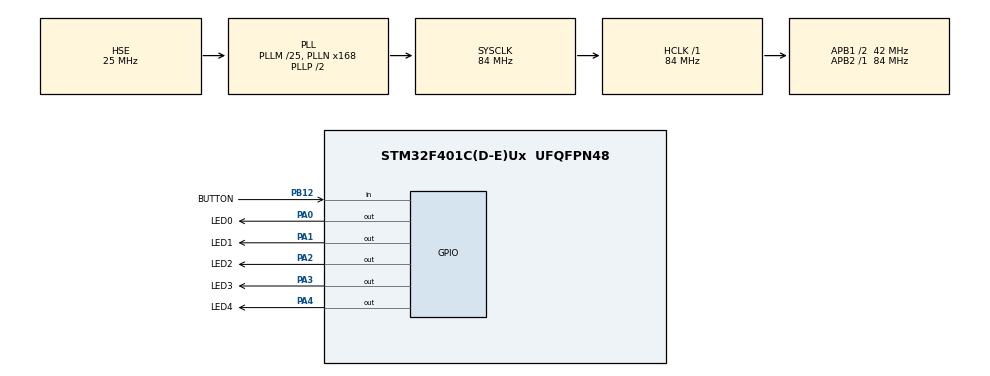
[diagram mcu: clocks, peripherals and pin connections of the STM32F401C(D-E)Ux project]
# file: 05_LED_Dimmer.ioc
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Mcu.Family=STM32F4
Mcu.Name=STM32F401C(D-E)Ux
Mcu.Package=UFQFPN48
NVIC.PriorityGroup=NVIC_PRIORITYGROUP_4
PA0-WKUP.GPIO_Label=LED0
PA0-WKUP.Signal=GPIO_Output
PA1.GPIO_Label=LED1
PA1.Signal=GPIO_Output
PA13.Mode=Serial_Wire
PA13.Signal=SYS_JTMS-SWDIO
PA14.Mode=Serial_Wire
PA14.Signal=SYS_JTCK-SWCLK
PA2.GPIO_Label=LED2
PA2.Signal=GPIO_Output
PA3.GPIO_Label=LED3
PA3.Signal=GPIO_Output
PA4.GPIO_Label=LED4
PA4.Signal=GPIO_Output
PB12.GPIO_Label=BUTTON
PB12.GPIO_PuPd=GPIO_PULLUP
PB12.Signal=GPIO_Input
PH0\ -\ OSC_IN.Mode=HSE-External-Oscillator
PH0\ -\ OSC_IN.Signal=RCC_OSC_IN
PH1\ -\ OSC_OUT.Mode=HSE-External-Oscillator
PH1\ -\ OSC_OUT.Signal=RCC_OSC_OUT
ProjectManager.HeapSize=0x200
ProjectManager.StackSize=0x400
ProjectManager.TargetToolchain=Makefile
RCC.48MHZClocksFreq_Value=42000000
RCC.AHBFreq_Value=84000000
RCC.APB1CLKDivider=RCC_HCLK_DIV2
RCC.APB1Freq_Value=42000000
RCC.APB1TimFreq_Value=84000000
RCC.APB2Freq_Value=84000000
RCC.APB2TimFreq_Value=84000000
RCC.CortexFreq_Value=84000000
RCC.HCLKFreq_Value=84000000
RCC.HSE_VALUE=25000000
RCC.HSI_VALUE=16000000
RCC.LSE_VALUE=32768
RCC.PLLM=25
RCC.PLLN=168
RCC.PLLSourceVirtual=RCC_PLLSOURCE_HSE
RCC.SYSCLKFreq_VALUE=84000000
RCC.SYSCLKSource=RCC_SYSCLKSOURCE_PLLCLK
RCC.VCOOutputFreq_Value=168000000
board=custom

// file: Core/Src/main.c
/* USER CODE BEGIN Header */
/**
  ******************************************************************************
  * @file           : main.c
  * @brief          : Main program body
  ******************************************************************************
  * @attention
  *
  * Copyright (c) 2026 STMicroelectronics.
  * All rights reserved.
  *
  * This software is licensed under terms that can be found in the LICENSE file
  * in the root directory of this software component.
  * If no LICENSE file comes with this software, it is provided AS-IS.
  *
  ******************************************************************************
  */
/* USER CODE END Header */
#include "main.h"
#include "gpio.h"

/* USER CODE BEGIN PV */
uint8_t dutyCycle = 0;    // LED'in parlaklık oranı (%0 - %100)
uint32_t pwmTick = 0;     // PWM periyodunu takip etmek için zaman damgası
uint32_t onTime = 0;      // Periyot içinde LED'in yanık kalacağı süre (ms)
#define PWM_PERIOD 10     // Toplam periyot süresi: 10ms (Yani saniyede 100 kez döner)
/* USER CODE END PV */

void SystemClock_Config(void);

/* USER CODE BEGIN 0 */
void delay_us(uint32_t us) {
    uint32_t startTick = DWT->CYCCNT;
    uint32_t ticks = us * (SystemCoreClock / 1000000);
    while ((DWT->CYCCNT - startTick) < ticks);
}
/* USER CODE END 0 */

int main(void)
{

  /* MCU Configuration--------------------------------------------------------*/

  /* Reset of all peripherals, Initializes the Flash interface and the Systick. */
  HAL_Init();

  /* Configure the system clock */
  SystemClock_Config();

  /* Initialize all configured peripherals */
  MX_GPIO_Init();

  /* Infinite loop */
  /* USER CODE BEGIN WHILE */
CoreDebug->DEMCR |= CoreDebug_DEMCR_TRCENA_Msk;
DWT->CYCCNT = 0;
DWT->CTRL |= DWT_CTRL_CYCCNTENA_Msk;

  while (1)
  {
// AŞAMA A : GetTick() kullanarak buton ile duty cycle kontrolü

    // uint32_t now = HAL_GetTick(); // İşlemcinin açıldığından beri geçen süreyi ms olarak al.
    // uint32_t phase = now % PWM_PERIOD;

    // onTime = (PWM_PERIOD * dutyCycle) / 100; // Periyodun neresinde olduğumuza karar veriyoruz

    // if(phase > onTime){
    //   HAL_GPIO_WritePin(GPIOA, LED0_Pin|LED1_Pin|LED2_Pin|LED3_Pin|LED4_Pin, GPIO_PIN_RESET);

    // }else{
    //   HAL_GPIO_WritePin(GPIOA, LED0_Pin|LED1_Pin|LED2_Pin|LED3_Pin|LED4_Pin, GPIO_PIN_SET);
    // }

    // if(HAL_GPIO_ReadPin(GPIOB, BUTTON_Pin) == GPIO_PIN_SET){
    //   HAL_Delay(50);
    //   dutyCycle +=25;
    //   if(dutyCycle > 100 ) dutyCycle = 0;

    //   while(HAL_GPIO_ReadPin(GPIOB, BUTTON_Pin) == GPIO_PIN_SET);
    //   HAL_Delay(50);
    // }

    // AŞAMA B: busy-wait döngü tabanlı pwm

    // 1. Hesaplamalar
    // uint32_t totalPeriod = 10000;              // 10ms
    // uint32_t highTime = dutyCycle * 100;       // %25 ise 2500us
    // uint32_t lowTime = totalPeriod - highTime; // %25 ise 7500us

    // // 2. LED ON (High Sinyali)
    // if (highTime > 0) {
    //     HAL_GPIO_WritePin(GPIOA, LED0_Pin|LED1_Pin|LED2_Pin|LED3_Pin|LED4_Pin, GPIO_PIN_RESET);
    //     delay_us(highTime);
    // }

    // // 3. LED OFF (Low Sinyali)
    // if (lowTime > 0) {
    //     HAL_GPIO_WritePin(GPIOA, LED0_Pin|LED1_Pin|LED2_Pin|LED3_Pin|LED4_Pin, GPIO_PIN_SET);
    //     delay_us(lowTime);
    // }

    // // 4. BUTON OKUMA (İşte sorun burada başlayacak)
    // if (HAL_GPIO_ReadPin(GPIOB, BUTTON_Pin) == GPIO_PIN_SET) {
    //     dutyCycle += 25;
    //     if (dutyCycle > 100) dutyCycle = 0;

    //     while(HAL_GPIO_ReadPin(GPIOB, BUTTON_Pin) == GPIO_PIN_SET); // Bırakana kadar bekle
    // }

  // AŞAMA C (BUTONSUZ PWM - MERAKTAN :) )

  // 1. PWM Üretimi (Mikrosaniye Hassasiyetinde)
// DWT->CYCCNT bize işlemcinin her bir tikini verir.
// 84MHz'de saniyede 84 milyon tik demektir. (vaow)

uint32_t totalTicks = 10000 * (SystemCoreClock / 1000000); // 10ms'lik toplam tik sayısı
uint32_t currentTick = DWT->CYCCNT % totalTicks;           // 10ms'lik periyodun neresindeyiz?
uint32_t activeTicks = (dutyCycle * totalTicks) / 100;     // Yanık kalması gereken tik sayısı

if (currentTick < activeTicks) {
    HAL_GPIO_WritePin(GPIOA, LED0_Pin|LED1_Pin|LED2_Pin|LED3_Pin|LED4_Pin, GPIO_PIN_RESET);
} else {
    HAL_GPIO_WritePin(GPIOA, LED0_Pin|LED1_Pin|LED2_Pin|LED3_Pin|LED4_Pin, GPIO_PIN_SET);
}

// 2. Nefes Alma Güncellemesi (Milisaniye ile devam edebiliriz)
static uint32_t lastUpdate = 0;
static int8_t direction = 1;
uint32_t now = HAL_GetTick();

if (now - lastUpdate >= 10) { // Her 10ms'de bir %1 değişim
    lastUpdate = now;
    dutyCycle += direction;

    if (dutyCycle >= 100) direction = -1;
    if (dutyCycle <= 0)   direction = 1;
}

    /* USER CODE END WHILE */

  }
}

void SystemClock_Config(void)
{
  RCC_OscInitTypeDef RCC_OscInitStruct = {0};
  RCC_ClkInitTypeDef RCC_ClkInitStruct = {0};

  /** Configure the main internal regulator output voltage
  */
  __HAL_RCC_PWR_CLK_ENABLE();
  __HAL_PWR_VOLTAGESCALING_CONFIG(PWR_REGULATOR_VOLTAGE_SCALE2);

  /** Initializes the RCC Oscillators according to the specified parameters
  * in the RCC_OscInitTypeDef structure.
  */
  RCC_OscInitStruct.OscillatorType = RCC_OSCILLATORTYPE_HSE;
  RCC_OscInitStruct.HSEState = RCC_HSE_ON;
  RCC_OscInitStruct.PLL.PLLState = RCC_PLL_ON;
  RCC_OscInitStruct.PLL.PLLSource = RCC_PLLSOURCE_HSE;
  RCC_OscInitStruct.PLL.PLLM = 25;
  RCC_OscInitStruct.PLL.PLLN = 168;
  RCC_OscInitStruct.PLL.PLLP = RCC_PLLP_DIV2;
  RCC_OscInitStruct.PLL.PLLQ = 4;
  if (HAL_RCC_OscConfig(&RCC_OscInitStruct) != HAL_OK)
  {
    Error_Handler();
  }

  /** Initializes the CPU, AHB and APB buses clocks
  */
  RCC_ClkInitStruct.ClockType = RCC_CLOCKTYPE_HCLK|RCC_CLOCKTYPE_SYSCLK
                              |RCC_CLOCKTYPE_PCLK1|RCC_CLOCKTYPE_PCLK2;
  RCC_ClkInitStruct.SYSCLKSource = RCC_SYSCLKSOURCE_PLLCLK;
  RCC_ClkInitStruct.AHBCLKDivider = RCC_SYSCLK_DIV1;
  RCC_ClkInitStruct.APB1CLKDivider = RCC_HCLK_DIV2;
  RCC_ClkInitStruct.APB2CLKDivider = RCC_HCLK_DIV1;

  if (HAL_RCC_ClockConfig(&RCC_ClkInitStruct, FLASH_LATENCY_2) != HAL_OK)
  {
    Error_Handler();
  }
}

void Error_Handler(void)
{
  __disable_irq();
  while (1)
  {
  }
}
